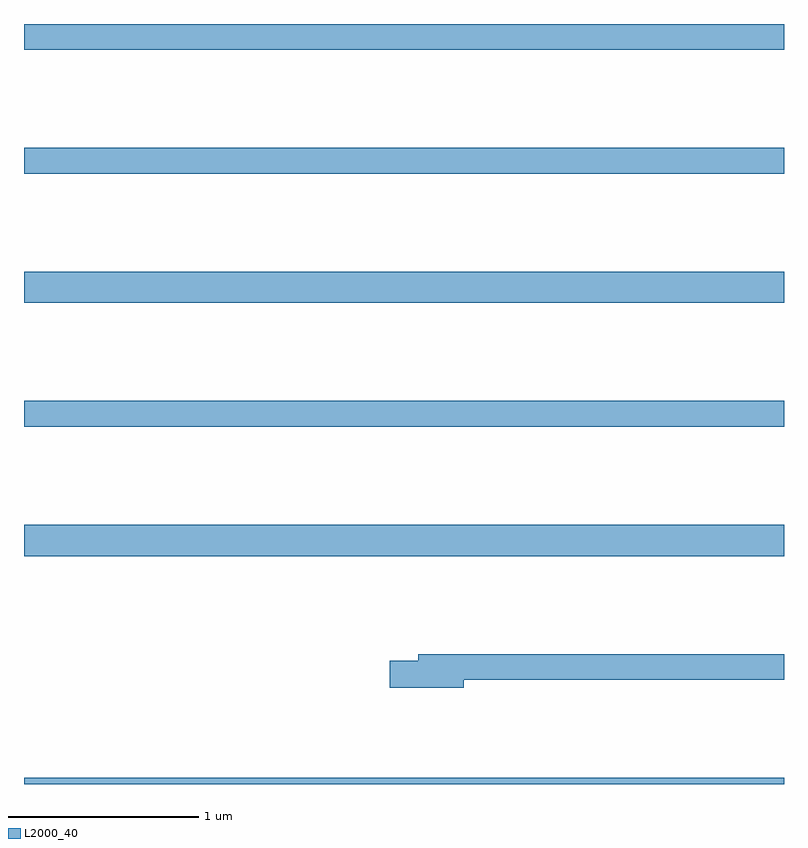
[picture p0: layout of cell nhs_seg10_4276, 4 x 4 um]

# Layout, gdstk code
import gdstk
lib = gdstk.Library(unit=1e-6, precision=1e-09)
def R(c, l, rs):  # rectangles x0, y0, x1, y1
    for r in rs: c.add(gdstk.rectangle(r[:2], r[2:], *l))
def P(c, l, *ps):  # polygons
    for p in ps: c.add(gdstk.Polygon(p, *l))
L2000_40 = (2000, 40)

nhs_seg10_4276 = lib.new_cell('nhs_seg10_4276')
R(nhs_seg10_4276, L2000_40, [(351,1248.5,355,1248.532), (351,1249.7,355,1249.864), (351,1250.38,355,1250.516), (351,1251.032,355,1251.196), (351,1251.712,355,1251.848), (351,1252.364,355,1252.5)])
P(nhs_seg10_4276, L2000_40, [(353.314,1249.048),(355,1249.048),(355,1249.184),(353.075,1249.184),(353.075,1249.148),(352.926,1249.148),(352.926,1249.006),(353.314,1249.006)])

lib.write_gds('nhs_seg10_4276.gds')
